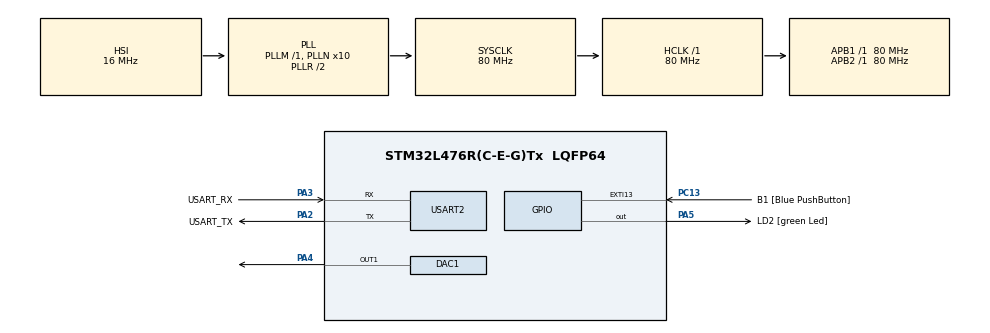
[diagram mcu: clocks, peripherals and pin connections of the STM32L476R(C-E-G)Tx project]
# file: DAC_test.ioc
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DAC1.DAC_OutputBuffer-DAC_OUT1=DAC_OUTPUTBUFFER_ENABLE
DAC1.DAC_Trigger-DAC_OUT1=DAC_TRIGGER_T6_TRGO
Dma.DAC_CH1.0.Direction=DMA_MEMORY_TO_PERIPH
Dma.DAC_CH1.0.Instance=DMA1_Channel3
Dma.DAC_CH1.0.MemDataAlignment=DMA_MDATAALIGN_HALFWORD
Dma.DAC_CH1.0.MemInc=DMA_MINC_ENABLE
Dma.DAC_CH1.0.Mode=DMA_CIRCULAR
Dma.DAC_CH1.0.PeriphDataAlignment=DMA_PDATAALIGN_HALFWORD
Dma.DAC_CH1.0.PeriphInc=DMA_PINC_DISABLE
Dma.DAC_CH1.0.Priority=DMA_PRIORITY_HIGH
Dma.Request0=DAC_CH1
Mcu.Family=STM32L4
Mcu.Name=STM32L476R(C-E-G)Tx
Mcu.Package=LQFP64
NVIC.DMA1_Channel3_IRQn=true\:0\:0\:false\:false\:true\:false\:true\:true
NVIC.PriorityGroup=NVIC_PRIORITYGROUP_4
PA13\ (JTMS-SWDIO).GPIO_Label=TMS
PA13\ (JTMS-SWDIO).Mode=Serial_Wire
PA13\ (JTMS-SWDIO).Signal=SYS_JTMS-SWDIO
PA14\ (JTCK-SWCLK).GPIO_Label=TCK
PA14\ (JTCK-SWCLK).Mode=Serial_Wire
PA14\ (JTCK-SWCLK).Signal=SYS_JTCK-SWCLK
PA2.GPIO_Label=USART_TX
PA2.GPIO_Mode=GPIO_MODE_AF_PP
PA2.GPIO_PuPd=GPIO_NOPULL
PA2.GPIO_Speed=GPIO_SPEED_FREQ_VERY_HIGH
PA2.Mode=Asynchronous
PA2.Signal=USART2_TX
PA3.GPIO_Label=USART_RX
PA3.GPIO_Mode=GPIO_MODE_AF_PP
PA3.GPIO_PuPd=GPIO_NOPULL
PA3.GPIO_Speed=GPIO_SPEED_FREQ_VERY_HIGH
PA3.Mode=Asynchronous
PA3.Signal=USART2_RX
PA4.Signal=COMP_DAC11_group
PA5.GPIO_Label=LD2 [green Led]
PA5.GPIO_ModeDefaultOutputPP=GPIO_MODE_OUTPUT_PP
PA5.GPIO_PuPd=GPIO_NOPULL
PA5.GPIO_Speed=GPIO_SPEED_FREQ_LOW
PA5.Signal=GPIO_Output
PB3\ (JTDO-TRACESWO).GPIO_Label=SWO
PB3\ (JTDO-TRACESWO).Signal=SYS_JTDO-SWO
PC13.GPIO_Label=B1 [Blue PushButton]
PC13.GPIO_ModeDefaultEXTI=GPIO_MODE_IT_FALLING
PC13.GPIO_PuPd=GPIO_NOPULL
PC13.Signal=GPXTI13
PC14-OSC32_IN\ (PC14).Mode=LSE-External-Oscillator
PC14-OSC32_IN\ (PC14).Signal=RCC_OSC32_IN
PC15-OSC32_OUT\ (PC15).Mode=LSE-External-Oscillator
PC15-OSC32_OUT\ (PC15).Signal=RCC_OSC32_OUT
PH0-OSC_IN\ (PH0).Signal=RCC_OSC_IN
PH1-OSC_OUT\ (PH1).Signal=RCC_OSC_OUT
ProjectManager.HeapSize=0x200
ProjectManager.StackSize=0x400
ProjectManager.TargetToolchain=STM32CubeIDE
RCC.ADCFreq_Value=64000000
RCC.AHBFreq_Value=80000000
RCC.APB1Freq_Value=80000000
RCC.APB1TimFreq_Value=80000000
RCC.APB2Freq_Value=80000000
RCC.APB2TimFreq_Value=80000000
RCC.CortexFreq_Value=80000000
RCC.HCLKFreq_Value=80000000
RCC.HSE_VALUE=8000000
RCC.HSI_VALUE=16000000
RCC.MSI_VALUE=4000000
RCC.PLLN=10
RCC.PLLSourceVirtual=RCC_PLLSOURCE_HSI
RCC.PREFETCH_ENABLE=1
RCC.SYSCLKFreq_VALUE=80000000
RCC.SYSCLKSource=RCC_SYSCLKSOURCE_PLLCLK
RCC.USBFreq_Value=64000000
RCC.VCOOutputFreq_Value=160000000
SH.COMP_DAC11_group.0=DAC1_OUT1,DAC_OUT1
TIM6.Period=159
TIM6.TIM_MasterOutputTrigger=TIM_TRGO_UPDATE
USART2.VirtualMode-Asynchronous=VM_ASYNC
VP_TIM6_VS_ClockSourceINT.Mode=Enable_Timer
board=NUCLEO-L476RG

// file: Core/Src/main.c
/* USER CODE BEGIN Header */
/**
  ******************************************************************************
  * @file           : main.c
  * @brief          : Main program body
  ******************************************************************************
  * @attention
  *
  * Copyright (c) 2025 STMicroelectronics.
  * All rights reserved.
  *
  * This software is licensed under terms that can be found in the LICENSE file
  * in the root directory of this software component.
  * If no LICENSE file comes with this software, it is provided AS-IS.
  *
  ******************************************************************************
  */
/* USER CODE END Header */
#include "main.h"
#include "dac.h"
#include "dma.h"
#include "tim.h"
#include "usart.h"
#include "gpio.h"

/* USER CODE BEGIN Includes */
#include <stdio.h>
#include <math.h>  // Para sin()
/* USER CODE END Includes */

/* USER CODE BEGIN PD */
#define PI 3.14159265
#define DAC_BUFFER_SIZE 4096// Número de muestras en la tabla de onda (potencia de 2 es común)
#define DAC_VREF 3.3f       // Voltaje de referencia del DAC (ej. 3.3V) - ¡AJUSTA SI ES DIFERENTE!
#define DAC_MAX_VAL 4095    // Valor máximo para DAC 12 bits (2^12 - 1)
/* USER CODE END PD */

/* USER CODE BEGIN PV */
uint16_t dac_sine_buffer[DAC_BUFFER_SIZE];
/* USER CODE END PV */

void SystemClock_Config(void);
/* USER CODE BEGIN PFP */
void Generate_Sine_Wave(void);
/* USER CODE END PFP */

int main(void)
{

  /* MCU Configuration--------------------------------------------------------*/

  /* Reset of all peripherals, Initializes the Flash interface and the Systick. */
  HAL_Init();

  /* Configure the system clock */
  SystemClock_Config();

  /* Initialize all configured peripherals */
  MX_GPIO_Init();
  MX_DMA_Init();
  MX_USART2_UART_Init();
  MX_DAC1_Init();
  MX_TIM6_Init();
  /* USER CODE BEGIN 2 */
  printf("--- DAC DMA Ejemplo ---\r\n");

   // Generar la forma de onda en el buffer
   Generate_Sine_Wave();

   // Iniciar el Timer que genera los triggers
   printf("Iniciando TIM6...\r\n");
   if(HAL_TIM_Base_Start(&htim6) != HAL_OK)
   {
       printf("Error iniciando TIM6!\r\n");
       Error_Handler();
   }

   // Iniciar el DAC con DMA en modo Circular
   printf("Iniciando DAC1 CH1 con DMA Circular...\r\n");
   // HAL espera un puntero uint32_t* aunque los datos sean uint16_t
   if(HAL_DAC_Start_DMA(&hdac1, DAC_CHANNEL_1, (uint32_t*)dac_sine_buffer, DAC_BUFFER_SIZE, DAC_ALIGN_12B_R) != HAL_OK)
   {
       printf("Error iniciando DAC1_CH1 DMA!\r\n");
       Error_Handler();
   }

   printf("DAC funcionando en segundo plano. Mide PA4 con osciloscopio.\r\n");
  /* USER CODE END 2 */

  /* Infinite loop */
  while (1)
  {

  }
}

void SystemClock_Config(void)
{
  RCC_OscInitTypeDef RCC_OscInitStruct = {0};
  RCC_ClkInitTypeDef RCC_ClkInitStruct = {0};

  /** Configure the main internal regulator output voltage
  */
  if (HAL_PWREx_ControlVoltageScaling(PWR_REGULATOR_VOLTAGE_SCALE1) != HAL_OK)
  {
    Error_Handler();
  }

  /** Initializes the RCC Oscillators according to the specified parameters
  * in the RCC_OscInitTypeDef structure.
  */
  RCC_OscInitStruct.OscillatorType = RCC_OSCILLATORTYPE_HSI;
  RCC_OscInitStruct.HSIState = RCC_HSI_ON;
  RCC_OscInitStruct.HSICalibrationValue = RCC_HSICALIBRATION_DEFAULT;
  RCC_OscInitStruct.PLL.PLLState = RCC_PLL_ON;
  RCC_OscInitStruct.PLL.PLLSource = RCC_PLLSOURCE_HSI;
  RCC_OscInitStruct.PLL.PLLM = 1;
  RCC_OscInitStruct.PLL.PLLN = 10;
  RCC_OscInitStruct.PLL.PLLP = RCC_PLLP_DIV7;
  RCC_OscInitStruct.PLL.PLLQ = RCC_PLLQ_DIV2;
  RCC_OscInitStruct.PLL.PLLR = RCC_PLLR_DIV2;
  if (HAL_RCC_OscConfig(&RCC_OscInitStruct) != HAL_OK)
  {
    Error_Handler();
  }

  /** Initializes the CPU, AHB and APB buses clocks
  */
  RCC_ClkInitStruct.ClockType = RCC_CLOCKTYPE_HCLK|RCC_CLOCKTYPE_SYSCLK
                              |RCC_CLOCKTYPE_PCLK1|RCC_CLOCKTYPE_PCLK2;
  RCC_ClkInitStruct.SYSCLKSource = RCC_SYSCLKSOURCE_PLLCLK;
  RCC_ClkInitStruct.AHBCLKDivider = RCC_SYSCLK_DIV1;
  RCC_ClkInitStruct.APB1CLKDivider = RCC_HCLK_DIV1;
  RCC_ClkInitStruct.APB2CLKDivider = RCC_HCLK_DIV1;

  if (HAL_RCC_ClockConfig(&RCC_ClkInitStruct, FLASH_LATENCY_4) != HAL_OK)
  {
    Error_Handler();
  }
}

/* USER CODE BEGIN 4 */
void Generate_Sine_Wave(void)
{
    printf("Generando tabla de onda sinusoidal (%d muestras)...\r\n", DAC_BUFFER_SIZE);
    for (int i = 0; i < DAC_BUFFER_SIZE; i++)
    {
        // Calcular valor sinusoidal entre -1.0 y +1.0
        //float sin_value = sinf(2.0f * PI * (float)i / (float)DAC_BUFFER_SIZE);
    	float sin_value = (i%2 >= 1)?1:-1;
        // Escalar y desplazar al rango del DAC (0 a DAC_MAX_VAL)
        // (sin_value + 1.0) -> Rango [0, 2.0]
        // * 0.5 -> Rango [0, 1.0]
        // * DAC_MAX_VAL -> Rango [0, DAC_MAX_VAL]
        dac_sine_buffer[i] = (uint16_t)(((sin_value + 1.0f) * 0.5f) * DAC_MAX_VAL);

        // Asegurarse de no exceder el máximo (por errores de redondeo float)
        if (dac_sine_buffer[i] > DAC_MAX_VAL) {
            dac_sine_buffer[i] = DAC_MAX_VAL;
        }
    }
     printf("Tabla de onda generada.\r\n");
}

void HAL_DAC_ConvCpltCallbackCh1(DAC_HandleTypeDef* hdac)
{
    // Este callback se llama cuando el DMA termina de recorrer TODO el buffer
    // (útil si NO usas modo Circular, o para sincronización)
    // En modo circular, se llama cada vez que completa una vuelta al buffer.
    // Podrías usarlo para cambiar de buffer (ping-pong) o ajustar algo.
    // Ejemplo: parpadear un LED
    HAL_GPIO_TogglePin(LD2_GPIO_Port, LD2_Pin);
}

int _write(int fd, char * ptr, int len)
{
  HAL_UART_Transmit(&huart2, (uint8_t *) ptr, len, HAL_MAX_DELAY);
  return len;
}
/* USER CODE END 4 */

void Error_Handler(void)
{
  __disable_irq();
  while (1)
  {
  }
}
